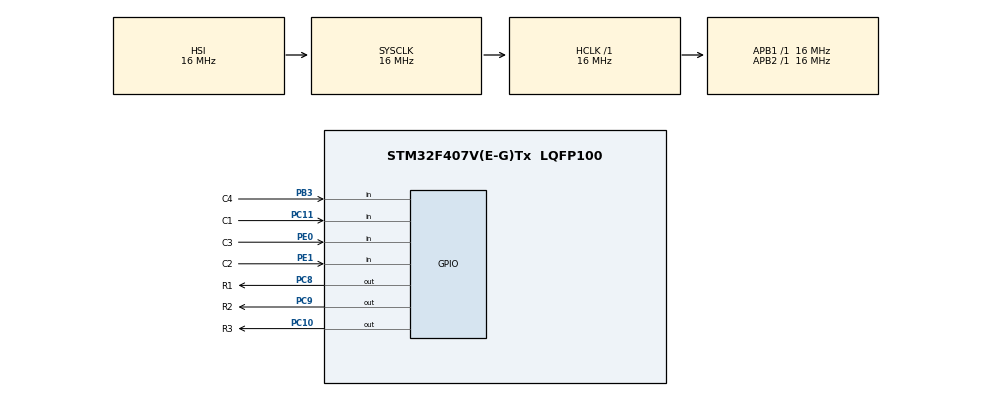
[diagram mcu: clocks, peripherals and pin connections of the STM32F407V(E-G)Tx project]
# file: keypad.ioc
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Mcu.Family=STM32F4
PE0.GPIO_PuPd=GPIO_PULLUP
RCC.CortexFreq_Value=16000000
PC10.GPIO_Label=R3
PC9.GPIO_Label=R2
PC10.Signal=GPIO_Output
PC11.Signal=GPIO_Input
PC8.Signal=GPIO_Output
PE1.GPIO_PuPd=GPIO_PULLUP
ProjectManager.StackSize=0x400
PC8.GPIO_Label=R1
PA13.Signal=SYS_JTMS-SWDIO
PC11.GPIO_PuPd=GPIO_PULLUP
ProjectManager.TargetToolchain=MDK-ARM V5
PE1.Signal=GPIO_Input
RCC.LSE_VALUE=32768
RCC.AHBFreq_Value=16000000
RCC.HSE_VALUE=25000000
board=custom
RCC.VCOOutputFreq_Value=192000000
PE1.GPIO_Label=C2
RCC.APB2Freq_Value=16000000
PB3.GPIO_PuPd=GPIO_PULLUP
PA14.Mode=Serial_Wire
PC11.GPIO_Label=C1
PA13.Mode=Serial_Wire
PE0.Signal=GPIO_Input
Mcu.Name=STM32F407V(E-G)Tx
PB3.Signal=GPIO_Input
RCC.SYSCLKFreq_VALUE=16000000
Mcu.Package=LQFP100
PA14.Signal=SYS_JTCK-SWCLK
ProjectManager.HeapSize=0x200
PE0.GPIO_Label=C3
RCC.HSI_VALUE=16000000
NVIC.PriorityGroup=NVIC_PRIORITYGROUP_4
PC9.Signal=GPIO_Output
RCC.APB1Freq_Value=16000000
PB3.GPIO_Label=C4

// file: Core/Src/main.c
/* USER CODE BEGIN Header */
/**
  ******************************************************************************
  * @file           : main.c
  * @brief          : Main program body
  ******************************************************************************
  * @attention
  *
  * <h2><center>&copy; Copyright (c) 2020 STMicroelectronics.
  * All rights reserved.</center></h2>
  *
  * This software component is licensed by ST under BSD 3-Clause license,
  * the "License"; You may not use this file except in compliance with the
  * License. You may obtain a copy of the License at:
  *                        opensource.org/licenses/BSD-3-Clause
  *
  ******************************************************************************
  */
/* USER CODE END Header */
#include "main.h"
#include "gpio.h"

void SystemClock_Config(void);

/* USER CODE BEGIN 0 */
char key;
/* USER CODE END 0 */

int main(void)
{

  /* MCU Configuration--------------------------------------------------------*/

  /* Reset of all peripherals, Initializes the Flash interface and the Systick. */
  HAL_Init();

  /* Configure the system clock */
  SystemClock_Config();

  /* Initialize all configured peripherals */
  MX_GPIO_Init();
  /* USER CODE BEGIN 2 */
  HAL_GPIO_WritePin(R1_GPIO_Port,R1_Pin,1);
	HAL_GPIO_WritePin(R2_GPIO_Port,R2_Pin,1);
	HAL_GPIO_WritePin(R3_GPIO_Port,R3_Pin,1);
  /* USER CODE END 2 */

  /* Infinite loop */
  /* USER CODE BEGIN WHILE */
  while (1)
  {
		  HAL_GPIO_WritePin(R3_GPIO_Port,R3_Pin,1);
		  HAL_GPIO_WritePin(R1_GPIO_Port,R1_Pin,0);
		  if(!HAL_GPIO_ReadPin(C1_GPIO_Port,C1_Pin))
				key = 10;
			if(!HAL_GPIO_ReadPin(C2_GPIO_Port,C2_Pin))
				key = 7;
			if(!HAL_GPIO_ReadPin(C3_GPIO_Port,C3_Pin))
				key = 4;
			if(!HAL_GPIO_ReadPin(C4_GPIO_Port,C4_Pin))
				key = 1;

			HAL_GPIO_WritePin(R1_GPIO_Port,R1_Pin,1);
			HAL_GPIO_WritePin(R2_GPIO_Port,R2_Pin,0);

		  if(!HAL_GPIO_ReadPin(C1_GPIO_Port,C1_Pin))
				key = 0;
			if(!HAL_GPIO_ReadPin(C2_GPIO_Port,C2_Pin))
				key = 8;
			if(!HAL_GPIO_ReadPin(C3_GPIO_Port,C3_Pin))
				key = 5;
			if(!HAL_GPIO_ReadPin(C4_GPIO_Port,C4_Pin))
				key = 2;

			HAL_GPIO_WritePin(R2_GPIO_Port,R2_Pin,1);
			HAL_GPIO_WritePin(R3_GPIO_Port,R3_Pin,0);

			if(!HAL_GPIO_ReadPin(C1_GPIO_Port,C1_Pin))
				key = 11;
			if(!HAL_GPIO_ReadPin(C2_GPIO_Port,C2_Pin))
				key = 9;
			if(!HAL_GPIO_ReadPin(C3_GPIO_Port,C3_Pin))
				key = 6;
			if(!HAL_GPIO_ReadPin(C4_GPIO_Port,C4_Pin))
				key = 3;

    /* USER CODE END WHILE */

  }
}

void SystemClock_Config(void)
{
  RCC_OscInitTypeDef RCC_OscInitStruct = {0};
  RCC_ClkInitTypeDef RCC_ClkInitStruct = {0};

  /** Configure the main internal regulator output voltage
  */
  __HAL_RCC_PWR_CLK_ENABLE();
  __HAL_PWR_VOLTAGESCALING_CONFIG(PWR_REGULATOR_VOLTAGE_SCALE1);
  /** Initializes the RCC Oscillators according to the specified parameters
  * in the RCC_OscInitTypeDef structure.
  */
  RCC_OscInitStruct.OscillatorType = RCC_OSCILLATORTYPE_HSI;
  RCC_OscInitStruct.HSIState = RCC_HSI_ON;
  RCC_OscInitStruct.HSICalibrationValue = RCC_HSICALIBRATION_DEFAULT;
  RCC_OscInitStruct.PLL.PLLState = RCC_PLL_NONE;
  if (HAL_RCC_OscConfig(&RCC_OscInitStruct) != HAL_OK)
  {
    Error_Handler();
  }
  /** Initializes the CPU, AHB and APB buses clocks
  */
  RCC_ClkInitStruct.ClockType = RCC_CLOCKTYPE_HCLK|RCC_CLOCKTYPE_SYSCLK
                              |RCC_CLOCKTYPE_PCLK1|RCC_CLOCKTYPE_PCLK2;
  RCC_ClkInitStruct.SYSCLKSource = RCC_SYSCLKSOURCE_HSI;
  RCC_ClkInitStruct.AHBCLKDivider = RCC_SYSCLK_DIV1;
  RCC_ClkInitStruct.APB1CLKDivider = RCC_HCLK_DIV1;
  RCC_ClkInitStruct.APB2CLKDivider = RCC_HCLK_DIV1;

  if (HAL_RCC_ClockConfig(&RCC_ClkInitStruct, FLASH_LATENCY_0) != HAL_OK)
  {
    Error_Handler();
  }
}

void Error_Handler(void)
{
  __disable_irq();
  while (1)
  {
  }
}

/************************ (C) COPYRIGHT STMicroelectronics *****END OF FILE****/
